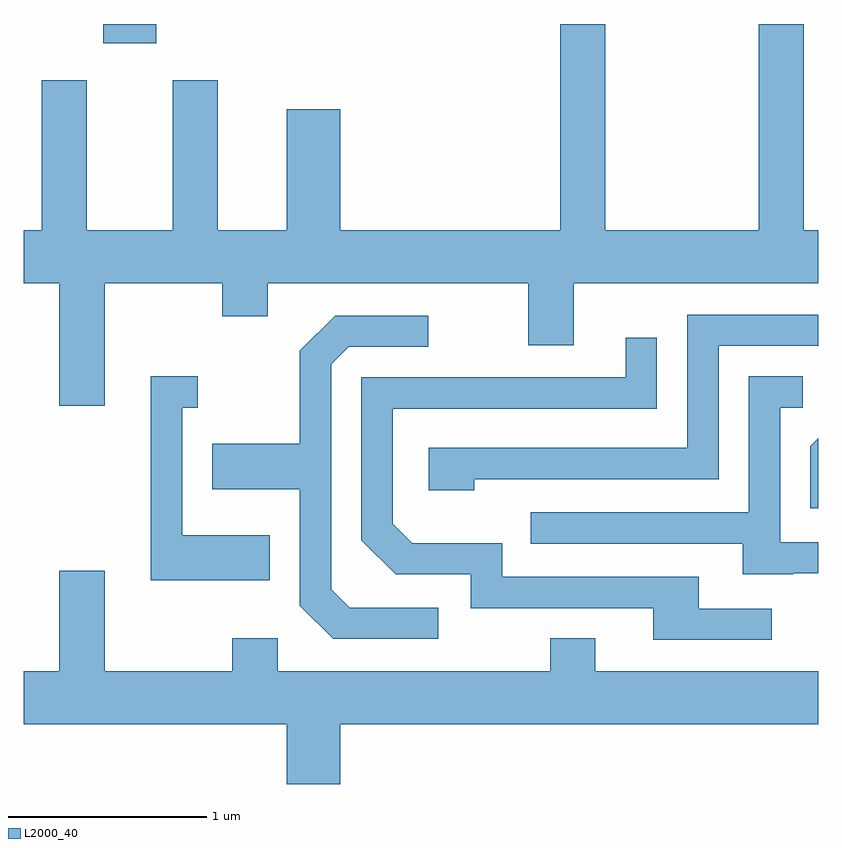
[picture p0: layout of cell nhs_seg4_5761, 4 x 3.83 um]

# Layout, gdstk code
import gdstk
lib = gdstk.Library(unit=1e-6, precision=1e-09)
def R(c, l, rs):  # rectangles x0, y0, x1, y1
    for r in rs: c.add(gdstk.rectangle(r[:2], r[2:], *l))
def P(c, l, *ps):  # polygons
    for p in ps: c.add(gdstk.Polygon(p, *l))
L2000_40 = (2000, 40)

nhs_seg4_5761 = lib.new_cell('nhs_seg4_5761')
R(nhs_seg4_5761, L2000_40, [(354.011,1355.886,354.279,1355.982)])
P(nhs_seg4_5761, L2000_40, [(354.019,1354.676),(354.611,1354.676),(354.611,1354.511),(354.839,1354.511),(354.839,1354.676),(356.151,1354.676),(356.151,1354.366),(356.379,1354.366),(356.379,1354.676),(357.611,1354.676),(357.611,1354.944),(357.539,1354.944),(357.539,1355.982),(357.311,1355.982),(357.311,1354.944),(356.539,1354.944),(356.539,1355.982),(356.311,1355.982),(356.311,1354.944),(355.204,1354.944),(355.204,1355.554),(354.936,1355.554),(354.936,1354.944),(354.589,1354.944),(354.589,1355.699),(354.361,1355.699),(354.361,1354.944),(353.929,1354.944),(353.929,1355.699),(353.701,1355.699),(353.701,1354.944),(353.611,1354.944),(353.611,1354.676),(353.791,1354.676),(353.791,1354.061),(354.019,1354.061)],
  [(355.879,1353.691),(357.109,1353.691),(357.109,1354.361),(357.609,1354.361),(357.611,1354.359),(357.611,1354.519),(356.951,1354.519),(356.951,1353.849),(355.651,1353.849),(355.651,1353.636),(355.879,1353.636)],
  [(355.698,1353.044),(355.252,1353.044),(355.159,1353.137),(355.159,1354.269),(355.247,1354.356),(355.648,1354.356),(355.648,1354.514),(355.179,1354.514),(355.001,1354.337),(355.001,1353.869),(354.561,1353.869),(354.561,1353.641),(355.001,1353.641),(355.001,1353.054),(355.169,1352.886),(355.698,1352.886)],
  [(357.378,1353.039),(357.009,1353.039),(357.009,1353.199),(356.019,1353.199),(356.019,1353.369),(355.567,1353.369),(355.469,1353.467),(355.469,1354.046),(356.799,1354.046),(356.799,1354.403),(356.641,1354.403),(356.641,1354.204),(355.311,1354.204),(355.311,1353.384),(355.484,1353.211),(355.861,1353.211),(355.861,1353.041),(356.781,1353.041),(356.781,1352.881),(357.378,1352.881)],
  [(354.849,1353.409),(354.409,1353.409),(354.409,1354.051),(354.488,1354.051),(354.488,1354.209),(354.251,1354.209),(354.251,1353.181),(354.849,1353.181)],
  [(357.485,1353.216),(357.611,1353.216),(357.611,1353.374),(357.419,1353.374),(357.419,1354.051),(357.533,1354.051),(357.533,1354.209),(357.261,1354.209),(357.261,1353.524),(356.163,1353.524),(356.163,1353.366),(357.231,1353.366),(357.231,1353.211),(357.485,1353.211)],
  [(357.611,1353.897),(357.571,1353.857),(357.571,1353.543),(357.611,1353.543)],
  [(355.204,1352.456),(357.611,1352.456),(357.611,1352.724),(356.489,1352.724),(356.489,1352.889),(356.261,1352.889),(356.261,1352.724),(354.889,1352.724),(354.889,1352.889),(354.661,1352.889),(354.661,1352.724),(354.019,1352.724),(354.019,1353.229),(353.791,1353.229),(353.791,1352.724),(353.611,1352.724),(353.611,1352.456),(354.936,1352.456),(354.936,1352.156),(355.204,1352.156)])

lib.write_gds('nhs_seg4_5761.gds')
